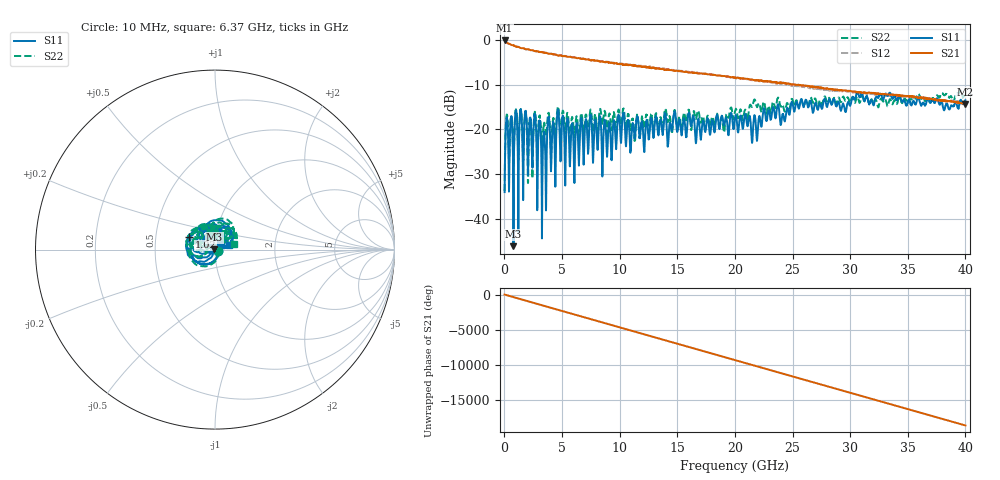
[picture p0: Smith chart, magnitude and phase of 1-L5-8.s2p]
! 2/21/2025 7:03:06 AM
! Z:\OQC\AD5\613\LOT-141-0825\SINGLE\1-L5-8.S2P
! CHANNEL.1
! TR.MEASUREMENT
! CORRECTED.DATA
! RF.CORRECTION: FULL.FOUR.PORT.CAL.PORT.1.2.3.4
! AVERAGING.OFF
! IF.BANDWIDTH: 1KHZ
! SWEEPTYPE:  FREQ.SWEEP(Linear)
! Reference Plane Port Info
! PORT:  PORT1  PORT2
! DISTANCE:  0  m  0  m
! TIME:  0  s  0  s
! PHASE.OFFSET:  0 °  0 °
! LOSS:  0  dB  0  dB
! REF.LOSS:  0  dB  0  dB
! REF.FREQ:  0  Hz  0  Hz
! Power Info
! POWER:  -10  dBm  -10  dBm
! EFF.POWER:  -10  dBm  -10  dBm
! SOURCE.ATTEN:  0  dB  0  dB
! TEST.ATTEN:  0  dB  0  dB
# GHZ S RI R 50.0
! FREQ.GHZ  S11RE  S11IM  S21RE  S21IM  S12RE  S12IM  S22RE  S22IM
!; PortSelection: Port_12
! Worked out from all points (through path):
!   4000 points, 10 MHz to 40 GHz, reference 50 ohm
!   highest |S21| = -0.18 dB at 10 MHz (marker M1); lowest = -14.3 dB at 39.94 GHz (marker M2)
!   group delay of S21, straight-line fit = 1.29 ns
!   lowest |S11| = -46.0 dB at 780 MHz (marker M3), VSWR 1.01, Z = 49.6 + j0.268 ohm
!   |S11| at or under -10 dB: start of sweep to end of sweep
!   |S22| runs from -33.8 to -11.4 dB; largest |S21 - S12| = 0.019
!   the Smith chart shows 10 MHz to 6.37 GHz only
!   S11 on the Smith chart (normalised r, x): 10 MHz: 1.04, -0.01; 1.02 GHz: 0.74, +0.11; 6.37 GHz: 1.17, +0.06
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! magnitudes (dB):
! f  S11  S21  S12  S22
! 10 MHz  -34.0  -0.2  -0.2  -33.8
! 250 MHz  -18.3  -0.8  -0.8  -17.3
! 780 MHz  -46.0  -1.3  -1.3  -28.3
! 1.02 GHz  -15.8  -1.6  -1.6  -15.7
! 2.23 GHz  -17.4  -2.3  -2.3  -17.5
! 2.61 GHz  -17.0  -2.5  -2.5  -16.7
! 3.43 GHz  -21.1  -2.9  -2.8  -19.0
! 3.84 GHz  -17.2  -3.1  -3.1  -16.3
! 4.24 GHz  -18.5  -3.3  -3.3  -17.6
! 4.65 GHz  -15.6  -3.6  -3.5  -14.9
! 6.37 GHz  -21.5  -4.1  -4.1  -19.2
! 6.68 GHz  -17.6  -4.3  -4.2  -16.4
! 13.34 GHz  -21.0  -6.4  -6.4  -20.6
! 16.65 GHz  -22.3  -7.4  -7.2  -17.2
! 18.97 GHz  -18.2  -8.1  -8.1  -19.3
! 20.01 GHz  -17.3  -8.5  -8.6  -15.9
! 21.99 GHz  -20.0  -9.1  -9.2  -14.7
! 22.56 GHz  -15.5  -9.2  -9.5  -14.1
! 26.67 GHz  -15.0  -10.4  -10.8  -13.4
! 33.34 GHz  -12.2  -12.2  -12.4  -14.1
! 39.94 GHz  -13.7  -14.3  -13.9  -12.2
! 40 GHz  -13.5  -14.3  -13.9  -11.8
